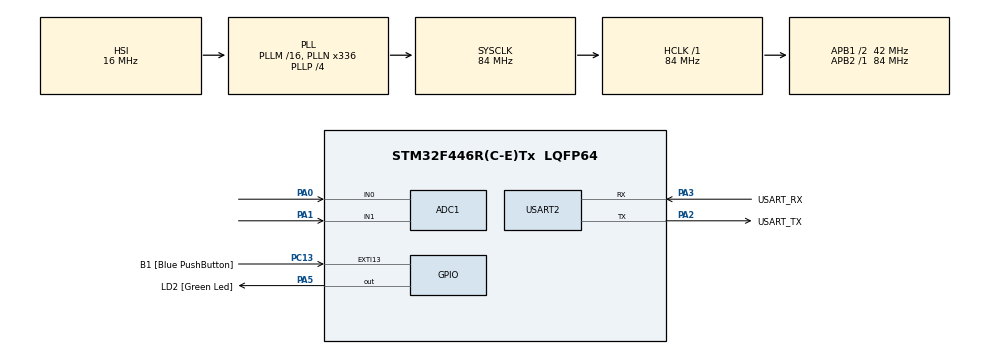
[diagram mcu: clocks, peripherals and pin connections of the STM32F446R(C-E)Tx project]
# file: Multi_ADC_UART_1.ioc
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ADC1.Channel-0\#ChannelRegularConversion=ADC_CHANNEL_0
ADC1.Channel-1\#ChannelRegularConversion=ADC_CHANNEL_1
ADC1.NbrOfConversion=2
ADC1.NbrOfConversionFlag=1
ADC1.Rank-0\#ChannelRegularConversion=1
ADC1.Rank-1\#ChannelRegularConversion=2
ADC1.SamplingTime-0\#ChannelRegularConversion=ADC_SAMPLETIME_480CYCLES
ADC1.SamplingTime-1\#ChannelRegularConversion=ADC_SAMPLETIME_480CYCLES
ADC1.ScanConvMode=ENABLE
ADC1.master=1
Dma.ADC1.0.Direction=DMA_PERIPH_TO_MEMORY
Dma.ADC1.0.FIFOMode=DMA_FIFOMODE_DISABLE
Dma.ADC1.0.Instance=DMA2_Stream0
Dma.ADC1.0.MemDataAlignment=DMA_MDATAALIGN_HALFWORD
Dma.ADC1.0.MemInc=DMA_MINC_ENABLE
Dma.ADC1.0.Mode=DMA_CIRCULAR
Dma.ADC1.0.PeriphDataAlignment=DMA_PDATAALIGN_HALFWORD
Dma.ADC1.0.PeriphInc=DMA_PINC_DISABLE
Dma.ADC1.0.Priority=DMA_PRIORITY_LOW
Dma.Request0=ADC1
Mcu.Family=STM32F4
Mcu.Name=STM32F446R(C-E)Tx
Mcu.Package=LQFP64
NVIC.ADC_IRQn=true\:0\:1\:false\:false\:true\:true\:true\:true
NVIC.DMA2_Stream0_IRQn=true\:0\:0\:false\:false\:true\:false\:true\:true
NVIC.PriorityGroup=NVIC_PRIORITYGROUP_0
PA0-WKUP.Signal=ADCx_IN0
PA1.Signal=ADCx_IN1
PA13.GPIO_Label=TMS
PA13.Mode=Serial_Wire
PA13.Signal=SYS_JTMS-SWDIO
PA14.GPIO_Label=TCK
PA14.Mode=Serial_Wire
PA14.Signal=SYS_JTCK-SWCLK
PA2.GPIO_Label=USART_TX
PA2.Mode=Asynchronous
PA2.Signal=USART2_TX
PA3.GPIO_Label=USART_RX
PA3.Mode=Asynchronous
PA3.Signal=USART2_RX
PA5.GPIO_Label=LD2 [Green Led]
PA5.Signal=GPIO_Output
PB3.GPIO_Label=SWO
PB3.Signal=SYS_JTDO-SWO
PC13.GPIO_Label=B1 [Blue PushButton]
PC13.GPIO_ModeDefaultEXTI=GPIO_MODE_IT_FALLING
PC13.Signal=GPXTI13
PC14-OSC32_IN.Mode=LSE-External-Oscillator
PC14-OSC32_IN.Signal=RCC_OSC32_IN
PC15-OSC32_OUT.Mode=LSE-External-Oscillator
PC15-OSC32_OUT.Signal=RCC_OSC32_OUT
PH0-OSC_IN.Mode=HSE-External-Oscillator
PH0-OSC_IN.Signal=RCC_OSC_IN
PH1-OSC_OUT.Mode=HSE-External-Oscillator
PH1-OSC_OUT.Signal=RCC_OSC_OUT
ProjectManager.HeapSize=0x200
ProjectManager.StackSize=0x400
ProjectManager.TargetToolchain=STM32CubeIDE
RCC.48MHZClocksFreq_Value=84000000
RCC.AHBFreq_Value=84000000
RCC.APB1CLKDivider=RCC_HCLK_DIV2
RCC.APB1Freq_Value=42000000
RCC.APB1TimFreq_Value=84000000
RCC.APB2Freq_Value=84000000
RCC.APB2TimFreq_Value=84000000
RCC.CortexFreq_Value=84000000
RCC.FLatency-AdvancedSettings=FLASH_LATENCY_2
RCC.HCLKFreq_Value=84000000
RCC.HSE_VALUE=8000000
RCC.HSI_VALUE=16000000
RCC.PLLN=336
RCC.PLLP=RCC_PLLP_DIV4
RCC.SYSCLKFreq_VALUE=84000000
RCC.SYSCLKSource=RCC_SYSCLKSOURCE_PLLCLK
RCC.USBFreq_Value=168000000
RCC.VCOOutputFreq_Value=336000000
SH.ADCx_IN0.0=ADC1_IN0,IN0
SH.ADCx_IN1.0=ADC1_IN1,IN1
USART2.VirtualMode=VM_ASYNC
board=NUCLEO-F446RE

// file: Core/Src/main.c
/* USER CODE BEGIN Header */
/**
  ******************************************************************************
  * @file           : main.c
  * @brief          : Main program body
  ******************************************************************************
  * @attention
  *
  * Copyright (c) 2023 STMicroelectronics.
  * All rights reserved.
  *
  * This software is licensed under terms that can be found in the LICENSE file
  * in the root directory of this software component.
  * If no LICENSE file comes with this software, it is provided AS-IS.
  *
  ******************************************************************************
  */
/* USER CODE END Header */
#include "main.h"

/* USER CODE BEGIN Includes */
#include <stdio.h>
#include <string.h>
/* USER CODE END Includes */

ADC_HandleTypeDef hadc1;
DMA_HandleTypeDef hdma_adc1;

UART_HandleTypeDef huart2;

/* USER CODE BEGIN PV */
uint16_t lux = 0;
uint16_t pot = 0;
uint16_t rawvalue[2];
char msg[50];

/* USER CODE END PV */

void SystemClock_Config(void);
static void MX_GPIO_Init(void);
static void MX_DMA_Init(void);
static void MX_USART2_UART_Init(void);
static void MX_ADC1_Init(void);

/* USER CODE BEGIN 0 */
uint8_t convCompleted = 0;
void HAL_ADC_ConvCpltCallback(ADC_HandleTypeDef* hadc)
{
	convCompleted = 1;
}
/* USER CODE END 0 */

int main(void)
{

  /* MCU Configuration--------------------------------------------------------*/

  /* Reset of all peripherals, Initializes the Flash interface and the Systick. */
  HAL_Init();

  /* Configure the system clock */
  SystemClock_Config();

  /* Initialize all configured peripherals */
  MX_GPIO_Init();
  MX_DMA_Init();
  MX_USART2_UART_Init();
  MX_ADC1_Init();
  /* USER CODE BEGIN 2 */
  HAL_ADC_Start_DMA(&hadc1, (uint32_t *)rawvalue, 2);
  /* USER CODE END 2 */

  /* Infinite loop */
  while (1)
  {

    /* USER CODE BEGIN 3 */
	  //while(!convCompleted);

	  for(uint8_t i=0;i<hadc1.Init.NbrOfConversion; i++) {
		  lux = (uint16_t)rawvalue[0];
		  pot = (uint16_t)rawvalue[1];
	  }

	  sprintf(msg,"Light : %hu \r\t\t",lux);
	  HAL_UART_Transmit(&huart2, (uint8_t *)msg, strlen(msg), HAL_MAX_DELAY);
	  sprintf(msg,"Pot  : %04d \r\n",pot);
	  HAL_UART_Transmit(&huart2, (uint8_t *)msg, strlen(msg), HAL_MAX_DELAY);

	  HAL_Delay(500);
  }
  /* USER CODE END 3 */
}

void SystemClock_Config(void)
{
  RCC_OscInitTypeDef RCC_OscInitStruct = {0};
  RCC_ClkInitTypeDef RCC_ClkInitStruct = {0};

  /** Configure the main internal regulator output voltage
  */
  __HAL_RCC_PWR_CLK_ENABLE();
  __HAL_PWR_VOLTAGESCALING_CONFIG(PWR_REGULATOR_VOLTAGE_SCALE3);

  /** Initializes the RCC Oscillators according to the specified parameters
  * in the RCC_OscInitTypeDef structure.
  */
  RCC_OscInitStruct.OscillatorType = RCC_OSCILLATORTYPE_HSI;
  RCC_OscInitStruct.HSIState = RCC_HSI_ON;
  RCC_OscInitStruct.HSICalibrationValue = RCC_HSICALIBRATION_DEFAULT;
  RCC_OscInitStruct.PLL.PLLState = RCC_PLL_ON;
  RCC_OscInitStruct.PLL.PLLSource = RCC_PLLSOURCE_HSI;
  RCC_OscInitStruct.PLL.PLLM = 16;
  RCC_OscInitStruct.PLL.PLLN = 336;
  RCC_OscInitStruct.PLL.PLLP = RCC_PLLP_DIV4;
  RCC_OscInitStruct.PLL.PLLQ = 2;
  RCC_OscInitStruct.PLL.PLLR = 2;
  if (HAL_RCC_OscConfig(&RCC_OscInitStruct) != HAL_OK)
  {
    Error_Handler();
  }

  /** Initializes the CPU, AHB and APB buses clocks
  */
  RCC_ClkInitStruct.ClockType = RCC_CLOCKTYPE_HCLK|RCC_CLOCKTYPE_SYSCLK
                              |RCC_CLOCKTYPE_PCLK1|RCC_CLOCKTYPE_PCLK2;
  RCC_ClkInitStruct.SYSCLKSource = RCC_SYSCLKSOURCE_PLLCLK;
  RCC_ClkInitStruct.AHBCLKDivider = RCC_SYSCLK_DIV1;
  RCC_ClkInitStruct.APB1CLKDivider = RCC_HCLK_DIV2;
  RCC_ClkInitStruct.APB2CLKDivider = RCC_HCLK_DIV1;

  if (HAL_RCC_ClockConfig(&RCC_ClkInitStruct, FLASH_LATENCY_2) != HAL_OK)
  {
    Error_Handler();
  }
}

static void MX_ADC1_Init(void)
{

  ADC_ChannelConfTypeDef sConfig = {0};

  /** Configure the global features of the ADC (Clock, Resolution, Data Alignment and number of conversion)
  */
  hadc1.Instance = ADC1;
  hadc1.Init.ClockPrescaler = ADC_CLOCK_SYNC_PCLK_DIV4;
  hadc1.Init.Resolution = ADC_RESOLUTION_12B;
  hadc1.Init.ScanConvMode = ENABLE;
  hadc1.Init.ContinuousConvMode = DISABLE;
  hadc1.Init.DiscontinuousConvMode = DISABLE;
  hadc1.Init.ExternalTrigConvEdge = ADC_EXTERNALTRIGCONVEDGE_NONE;
  hadc1.Init.ExternalTrigConv = ADC_SOFTWARE_START;
  hadc1.Init.DataAlign = ADC_DATAALIGN_RIGHT;
  hadc1.Init.NbrOfConversion = 2;
  hadc1.Init.DMAContinuousRequests = DISABLE;
  hadc1.Init.EOCSelection = ADC_EOC_SINGLE_CONV;
  if (HAL_ADC_Init(&hadc1) != HAL_OK)
  {
    Error_Handler();
  }

  /** Configure for the selected ADC regular channel its corresponding rank in the sequencer and its sample time.
  */
  sConfig.Channel = ADC_CHANNEL_0;
  sConfig.Rank = 1;
  sConfig.SamplingTime = ADC_SAMPLETIME_480CYCLES;
  if (HAL_ADC_ConfigChannel(&hadc1, &sConfig) != HAL_OK)
  {
    Error_Handler();
  }

  /** Configure for the selected ADC regular channel its corresponding rank in the sequencer and its sample time.
  */
  sConfig.Channel = ADC_CHANNEL_1;
  sConfig.Rank = 2;
  if (HAL_ADC_ConfigChannel(&hadc1, &sConfig) != HAL_OK)
  {
    Error_Handler();
  }

}

static void MX_USART2_UART_Init(void)
{

  huart2.Instance = USART2;
  huart2.Init.BaudRate = 115200;
  huart2.Init.WordLength = UART_WORDLENGTH_8B;
  huart2.Init.StopBits = UART_STOPBITS_1;
  huart2.Init.Parity = UART_PARITY_NONE;
  huart2.Init.Mode = UART_MODE_TX_RX;
  huart2.Init.HwFlowCtl = UART_HWCONTROL_NONE;
  huart2.Init.OverSampling = UART_OVERSAMPLING_16;
  if (HAL_UART_Init(&huart2) != HAL_OK)
  {
    Error_Handler();
  }

}

static void MX_DMA_Init(void)
{

  /* DMA controller clock enable */
  __HAL_RCC_DMA2_CLK_ENABLE();

  /* DMA interrupt init */
  /* DMA2_Stream0_IRQn interrupt configuration */
  HAL_NVIC_SetPriority(DMA2_Stream0_IRQn, 0, 0);
  HAL_NVIC_EnableIRQ(DMA2_Stream0_IRQn);

}

static void MX_GPIO_Init(void)
{
  GPIO_InitTypeDef GPIO_InitStruct = {0};

  /* GPIO Ports Clock Enable */
  __HAL_RCC_GPIOC_CLK_ENABLE();
  __HAL_RCC_GPIOH_CLK_ENABLE();
  __HAL_RCC_GPIOA_CLK_ENABLE();
  __HAL_RCC_GPIOB_CLK_ENABLE();

  /*Configure GPIO pin Output Level */
  HAL_GPIO_WritePin(LD2_GPIO_Port, LD2_Pin, GPIO_PIN_RESET);

  /*Configure GPIO pin : B1_Pin */
  GPIO_InitStruct.Pin = B1_Pin;
  GPIO_InitStruct.Mode = GPIO_MODE_IT_FALLING;
  GPIO_InitStruct.Pull = GPIO_NOPULL;
  HAL_GPIO_Init(B1_GPIO_Port, &GPIO_InitStruct);

  /*Configure GPIO pin : LD2_Pin */
  GPIO_InitStruct.Pin = LD2_Pin;
  GPIO_InitStruct.Mode = GPIO_MODE_OUTPUT_PP;
  GPIO_InitStruct.Pull = GPIO_NOPULL;
  GPIO_InitStruct.Speed = GPIO_SPEED_FREQ_LOW;
  HAL_GPIO_Init(LD2_GPIO_Port, &GPIO_InitStruct);

}

void Error_Handler(void)
{
  __disable_irq();
  while (1)
  {
  }
}
